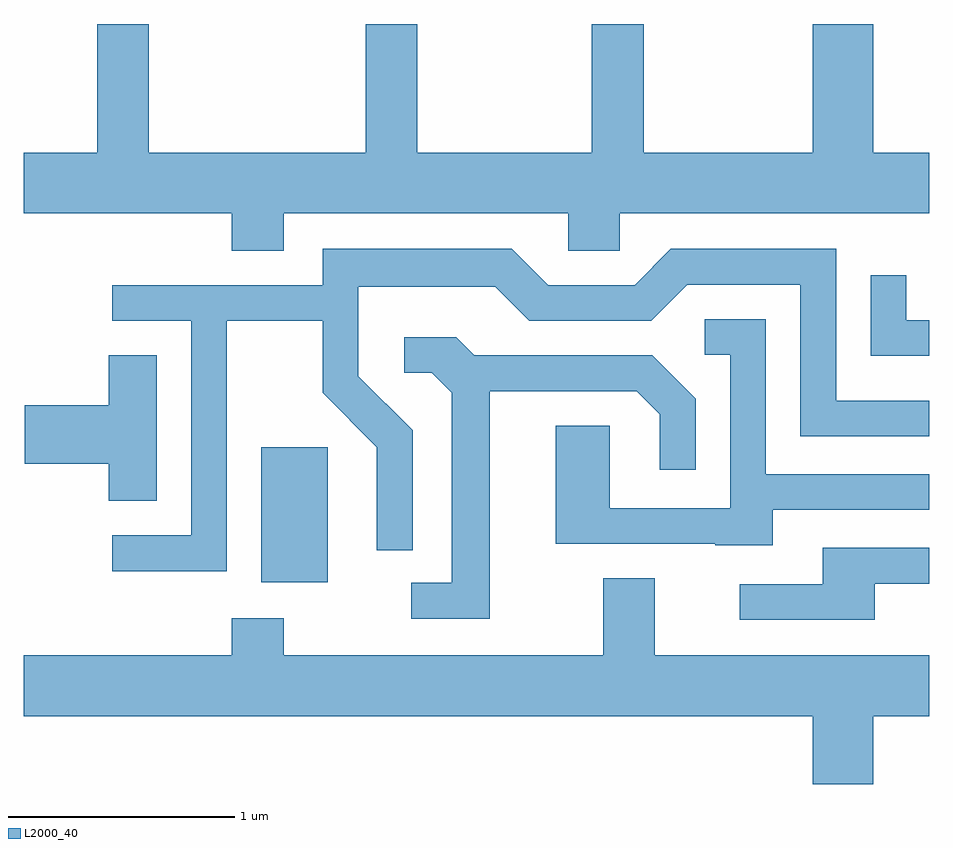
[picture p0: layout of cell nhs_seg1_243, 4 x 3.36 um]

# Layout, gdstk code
import gdstk
lib = gdstk.Library(unit=1e-6, precision=1e-09)
def R(c, l, rs):  # rectangles x0, y0, x1, y1
    for r in rs: c.add(gdstk.rectangle(r[:2], r[2:], *l))
def P(c, l, *ps):  # polygons
    for p in ps: c.add(gdstk.Polygon(p, *l))
L2000_40 = (2000, 40)

nhs_seg1_243 = lib.new_cell('nhs_seg1_243')
R(nhs_seg1_243, L2000_40, [(192.661,931.246,192.954,931.844)])
P(nhs_seg1_243, L2000_40, [(192.759,932.876),(194.016,932.876),(194.016,932.711),(194.244,932.711),(194.244,932.876),(195.611,932.876),(195.611,933.144),(195.364,933.144),(195.364,933.712),(195.096,933.712),(195.096,933.144),(194.349,933.144),(194.349,933.712),(194.121,933.712),(194.121,933.144),(193.349,933.144),(193.349,933.712),(193.121,933.712),(193.121,933.144),(192.164,933.144),(192.164,933.712),(191.936,933.712),(191.936,933.144),(191.611,933.144),(191.611,932.876),(192.531,932.876),(192.531,932.711),(192.759,932.711)],
  [(192.509,932.401),(192.931,932.401),(192.931,932.084),(193.171,931.844),(193.171,931.388),(193.329,931.388),(193.329,931.917),(193.089,932.157),(193.089,932.551),(193.694,932.551),(193.844,932.401),(194.382,932.401),(194.542,932.561),(195.041,932.561),(195.041,931.891),(195.611,931.891),(195.611,932.049),(195.199,932.049),(195.199,932.719),(194.469,932.719),(194.309,932.559),(193.927,932.559),(193.767,932.719),(192.931,932.719),(192.931,932.559),(192.003,932.559),(192.003,932.401),(192.351,932.401),(192.351,931.454),(192.003,931.454),(192.003,931.296),(192.509,931.296)],
  [(195.611,932.404),(195.509,932.404),(195.509,932.603),(195.351,932.603),(195.351,932.246),(195.611,932.246)],
  [(194.919,931.566),(195.611,931.566),(195.611,931.724),(194.889,931.724),(194.889,932.409),(194.618,932.409),(194.618,932.251),(194.731,932.251),(194.731,931.574),(194.199,931.574),(194.199,931.939),(193.961,931.939),(193.961,931.416),(194.665,931.416),(194.665,931.411),(194.919,931.411)],
  [(193.669,932.091),(194.319,932.091),(194.421,931.989),(194.421,931.743),(194.579,931.743),(194.579,932.057),(194.387,932.249),(193.602,932.249),(193.522,932.329),(193.293,932.329),(193.293,932.171),(193.414,932.171),(193.501,932.084),(193.501,931.244),(193.323,931.244),(193.323,931.086),(193.669,931.086)],
  [(192.199,932.249),(191.986,932.249),(191.986,932.029),(191.616,932.029),(191.616,931.771),(191.986,931.771),(191.986,931.606),(192.199,931.606)],
  [(195.369,931.241),(195.611,931.241),(195.611,931.399),(195.141,931.399),(195.141,931.239),(194.773,931.239),(194.773,931.081),(195.369,931.081)],
  [(195.364,930.656),(195.611,930.656),(195.611,930.924),(194.399,930.924),(194.399,931.264),(194.171,931.264),(194.171,930.924),(192.759,930.924),(192.759,931.089),(192.531,931.089),(192.531,930.924),(191.611,930.924),(191.611,930.656),(195.096,930.656),(195.096,930.356),(195.364,930.356)])

lib.write_gds('nhs_seg1_243.gds')
